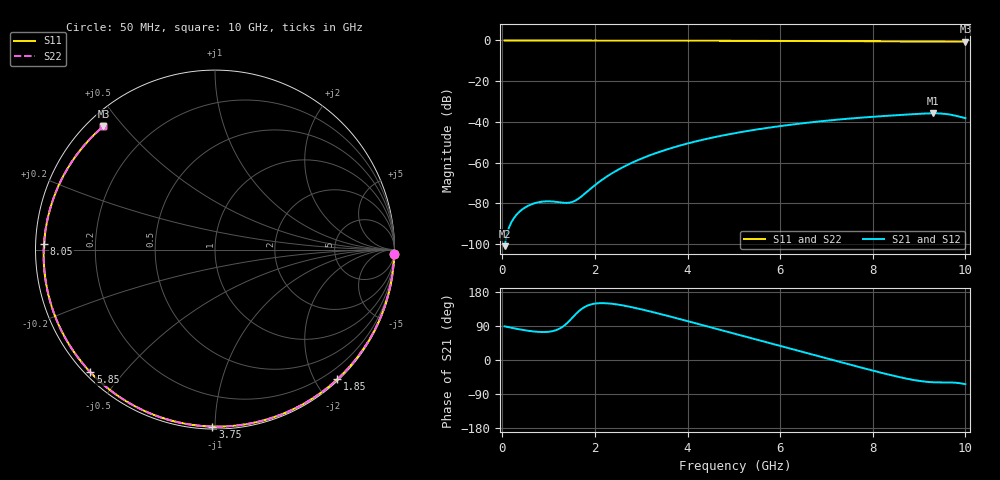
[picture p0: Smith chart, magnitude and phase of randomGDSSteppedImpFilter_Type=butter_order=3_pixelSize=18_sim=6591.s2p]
! freq	dB(S11)	phase(S11)	dB(S12)	phase(S12)
!  dB(S21)	phase(S21)	dB(S22)	phase(S22)
!S-par simulation data
#  GHz  S  DB  R 50
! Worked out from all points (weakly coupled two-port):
!   200 points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, 50 MHz to 10 GHz, reference 50 ohm
!   highest |S21| = -35.77 dB at 9.3 GHz (marker M1); lowest = -101.0 dB at 50 MHz (marker M2)
!   lowest |S11| = -0.7 dB at 10 GHz (marker M3), VSWR 26.24, Z = 2.28 + j22.2 ohm
!   |S11| at or under -10 dB: nowhere
!   |S22| runs from -0.7 to 0.0 dB; largest |S21 - S12| = 0
!   S11 on the Smith chart (normalised r, x): 50 MHz: 6, -87; 1.85 GHz: 0.02, -2.32; 3.75 GHz: 0.01, -0.99; 5.85 GHz: 0.02, -0.41; 8.05 GHz: 0.02, +0.02; 10 GHz: 0.05, +0.44
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0.05  -0.01 -1.3  -100.96 88.8  -100.96 88.8  -0.01 -1.3
0.75  -0.03 -19.2  -79.57 74.4  -79.57 74.4  -0.03 -19.2
1  -0.03 -25.6  -78.94 74.5  -78.94 74.5  -0.03 -25.6
1.45  -0.05 -36.8  -79.61 103.4  -79.61 103.4  -0.05 -36.8
1.6  -0.05 -40.5  -78.31 122.7  -78.31 122.7  -0.05 -40.5
1.75  -0.06 -44.2  -75.79 137.8  -75.79 137.8  -0.06 -44.2
1.85  -0.06 -46.7  -73.86 144.0  -73.86 144.0  -0.06 -46.7
2.2  -0.07 -55.1  -67.67 150.0  -67.67 150.0  -0.07 -55.1
2.55  -0.08 -63.5  -62.84 145.1  -62.84 145.1  -0.08 -63.5
2.95  -0.09 -72.8  -58.51 135.2  -58.51 135.2  -0.09 -72.8
3.4  -0.11 -83.0  -54.64 121.8  -54.64 121.8  -0.11 -83.0
3.75  -0.12 -90.8  -52.14 110.7  -52.14 110.7  -0.12 -90.8
4.4  -0.15 -105.0  -48.37 89.5  -48.37 89.5  -0.15 -105.0
5.05  -0.18 -118.8  -45.40 68.1  -45.40 68.1  -0.18 -118.8
5.85  -0.23 -135.4  -42.51 41.9  -42.51 41.9  -0.23 -135.4
6.7  -0.29 -153.0  -40.10 14.3  -40.10 14.3  -0.29 -153.0
7.4  -0.35 -167.7  -38.53 -8.6  -38.53 -8.6  -0.35 -167.7
8.05  -0.42 178.2  -37.38 -29.5  -37.38 -29.5  -0.42 178.2
8.35  -0.45 171.6  -36.92 -38.7  -36.92 -38.7  -0.45 171.6
9.3  -0.57 149.5  -35.77 -58.7  -35.77 -58.7  -0.57 149.5
9.6  -0.61 142.2  -36.16 -59.2  -36.16 -59.2  -0.61 142.2
10  -0.66 132.1  -38.12 -63.8  -38.12 -63.8  -0.66 132.1
